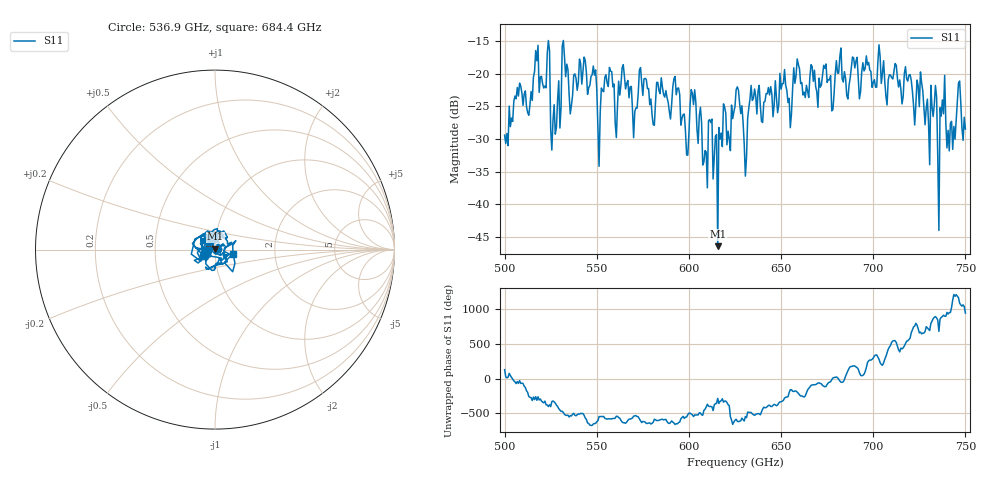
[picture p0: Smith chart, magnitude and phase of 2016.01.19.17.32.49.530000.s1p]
!Created with skrf (http://scikit-rf.org).
# GHz S RI R 50.0
!freq ReS11 ImS11
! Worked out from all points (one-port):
!   401 points, 500 GHz to 750 GHz, reference 50 ohm
!   lowest |S11| = -46.5 dB at 615.6 GHz (marker M1), VSWR 1.01, Z = 50.1 + j0.459 ohm
!   |S11| at or under -10 dB: start of sweep to end of sweep
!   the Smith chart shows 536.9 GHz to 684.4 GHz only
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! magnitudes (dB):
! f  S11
! 500 GHz  -29.4
! 507.5 GHz  -23.4
! 513.8 GHz  -24.8
! 516.9 GHz  -16.4
! 523.1 GHz  -16.9
! 526.9 GHz  -24.7
! 531.2 GHz  -15.8
! 548.1 GHz  -18.8
! 551.9 GHz  -25.9
! 555.6 GHz  -21.4
! 562.5 GHz  -23.3
! 593.8 GHz  -22.2
! 598.8 GHz  -32.5
! 602.5 GHz  -24.7
! 608.8 GHz  -31.8
! 611.9 GHz  -27.5
! 615.6 GHz  -46.5
! 625 GHz  -25.0
! 630.6 GHz  -35.7
! 634.4 GHz  -24.1
! 656.2 GHz  -22.4
! 687.5 GHz  -20.6
! 718.8 GHz  -21.1
! 729.4 GHz  -23.9
! 733.1 GHz  -24.8
! 735.6 GHz  -44.0
! 737.5 GHz  -24.0
! 750 GHz  -28.5
